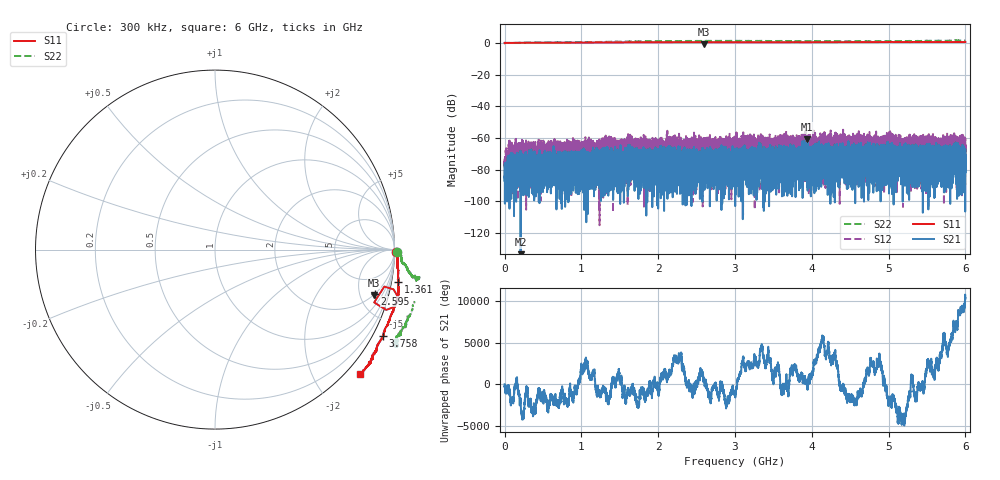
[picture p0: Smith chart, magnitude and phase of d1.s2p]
!Agilent Technologies,N5230C,SG49000117,A.08.50.07
!Agilent N5230C: A.08.50.07
!Date: Thursday, May 16, 2024 17:36:16
!Correction: S11(Full 2 Port(1,2))
!S21(Full 2 Port(1,2))
!S12(Full 2 Port(1,2))
!S22(Full 2 Port(1,2))
!S2P File: Measurements: S11, S21, S12, S22:
# Hz S  MA  R 50
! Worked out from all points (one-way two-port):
!   20001 points, 300 kHz to 6 GHz, reference 50 ohm
!   highest |S21| = -60.80 dB at 3.939 GHz (marker M1); lowest = -134.6 dB at 208.5 MHz (marker M2)
!   lowest |S11| = -0.7 dB at 2.595 GHz (marker M3), VSWR 24.78, Z = 97.3 - j330 ohm
!   |S11| at or under -10 dB: nowhere
!   |S22| runs from -0.3 to 1.6 dB; largest |S21 - S12| = 0.0019
!   S11 on the Smith chart (normalised r, x): 300 kHz: open; 1.361 GHz: -2, -11; 2.595 GHz: 2.02, -6.82; 3.758 GHz: -0.46, -4.10; 6 GHz: -0.27, -2.69
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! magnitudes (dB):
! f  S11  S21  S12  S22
! 300 kHz  0.1  -84.9  -77.6  0.1
! 74.7 MHz  0.0  -74.7  -70.9  0.0
! 208.5 MHz  0.1  -134.6  -71.0  0.1
! 478.2 MHz  0.2  -75.5  -67.5  0.3
! 1 GHz  0.2  -75.5  -65.4  0.5
! 1.361 GHz  0.3  -81.3  -72.5  0.7
! 2 GHz  0.4  -70.3  -73.5  1.1
! 2.165 GHz  0.4  -77.3  -60.8  1.2
! 2.267 GHz  0.5  -75.3  -61.9  1.2
! 2.595 GHz  -0.7  -74.1  -66.4  1.3
! 2.595 GHz  -0.7  -81.9  -66.7  1.3
! 3 GHz  0.4  -76.8  -68.5  1.3
! 3.758 GHz  0.4  -78.3  -59.6  1.1
! 3.939 GHz  0.4  -60.8  -63.3  1.2
! 4 GHz  0.5  -72.4  -84.4  1.2
! 4.633 GHz  0.6  -69.2  -63.7  1.1
! 5 GHz  0.6  -74.1  -76.9  1.1
! 5.186 GHz  0.6  -73.2  -70.8  1.2
! 5.326 GHz  0.6  -69.3  -66.3  1.3
! 5.633 GHz  0.6  -70.8  -75.6  1.4
! 5.97 GHz  0.5  -75.5  -74.8  1.5
! 6 GHz  0.6  -67.5  -69.9  1.5
